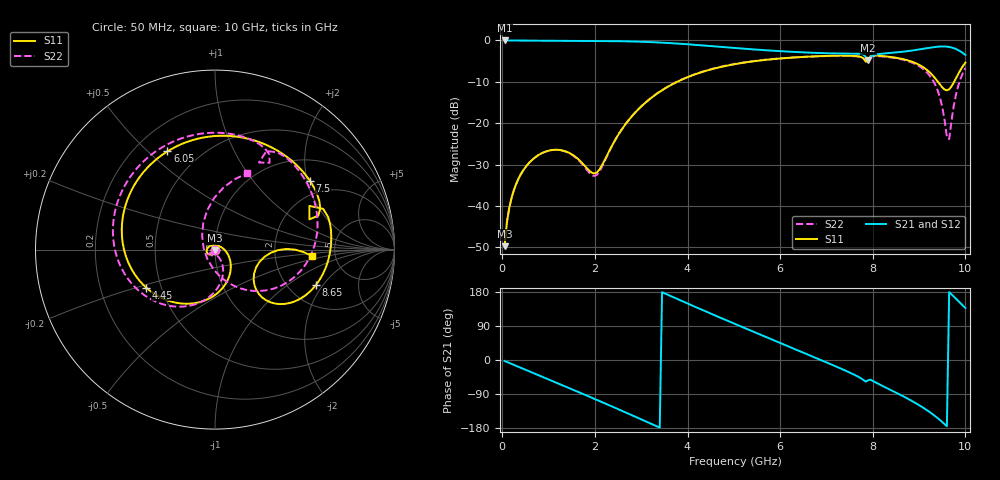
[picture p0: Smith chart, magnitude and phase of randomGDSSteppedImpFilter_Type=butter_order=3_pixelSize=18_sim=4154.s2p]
! freq	dB(S11)	phase(S11)	dB(S12)	phase(S12)
!  dB(S21)	phase(S21)	dB(S22)	phase(S22)
!S-par simulation data
#  GHz  S  DB  R 50
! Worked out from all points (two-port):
!   200 points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, 50 MHz to 10 GHz, reference 50 ohm
!   highest |S21| = 0.00 dB at 50 MHz (marker M1); lowest = -4.8 dB at 7.9 GHz (marker M2)
!   |S21| within 3 dB of the highest: start of sweep to 6.758 GHz; 8.411 GHz to 9.941 GHz (1.531 GHz wide, 16.7 % of centre)
!   lowest |S11| = -49.7 dB at 50 MHz (marker M3), VSWR 1.01, Z = 50 - j0.326 ohm
!   |S11| at or under -10 dB: start of sweep to 3.777 GHz; 9.407 GHz to 9.757 GHz (349.3 MHz wide, 3.65 % of centre)
!   |S22| runs from -49.6 to -3.7 dB; largest |S21 - S12| = 0
!   S11 on the Smith chart (normalised r, x): 50 MHz: 1.00, -0.01; 4.45 GHz: 0.41, -0.22; 6.05 GHz: 0.33, +0.58; 7.5 GHz: 1.56, +2.08; 8.65 GHz: 2.78, -1.71; 10 GHz: 3.30, -0.33
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0.05  -49.72 -85.9  -0.00 -2.6  -0.00 -2.6  -49.60 -85.3
0.15  -40.49 -96.6  -0.02 -7.8  -0.02 -7.8  -40.47 -94.0
0.25  -36.18 -103.7  -0.03 -12.9  -0.03 -12.9  -36.16 -99.5
0.6  -29.35 -126.4  -0.05 -30.8  -0.05 -30.8  -29.32 -115.7
1.2  -26.43 -166.8  -0.08 -61.6  -0.08 -61.6  -26.47 -138.9
1.75  -29.93 137.5  -0.11 -90.0  -0.11 -90.0  -30.22 -141.1
2.05  -31.82 64.4  -0.13 -105.7  -0.13 -105.7  -32.40 -96.1
2.8  -18.30 -43.8  -0.25 -145.8  -0.25 -145.8  -18.26 -68.3
3.4  -12.41 -85.8  -0.50 -178.4  -0.50 -178.4  -12.34 -91.9
4.45  -7.17 -151.1  -1.32 125.1  -1.32 125.1  -7.10 -139.4
5.05  -5.67 173.5  -1.85 93.9  -1.85 93.9  -5.60 -166.3
6.05  -4.32 115.8  -2.62 42.7  -2.62 42.7  -4.28 149.2
6.7  -3.87 79.4  -2.98 9.4  -2.98 9.4  -3.87 119.0
7.5  -3.70 35.9  -3.19 -33.0  -3.19 -33.0  -3.75 78.5
7.9  -4.74 24.9  -4.76 -53.5  -4.76 -53.5  -5.30 63.2
8.35  -3.94 -4.5  -3.06 -76.8  -3.06 -76.8  -4.05 32.7
8.65  -4.50 -19.5  -2.73 -95.2  -2.73 -95.2  -4.65 12.6
9.3  -8.52 -45.4  -1.65 -143.7  -1.65 -143.7  -9.68 -44.8
9.45  -10.63 -41.8  -1.47 -158.4  -1.47 -158.4  -13.75 -67.1
9.65  -11.79 -15.4  -1.58 179.4  -1.58 179.4  -23.86 172.3
9.8  -9.07 -0.4  -2.09 161.3  -2.09 161.3  -12.93 100.9
10  -5.37 -3.8  -3.50 137.4  -3.50 137.4  -6.70 67.0
